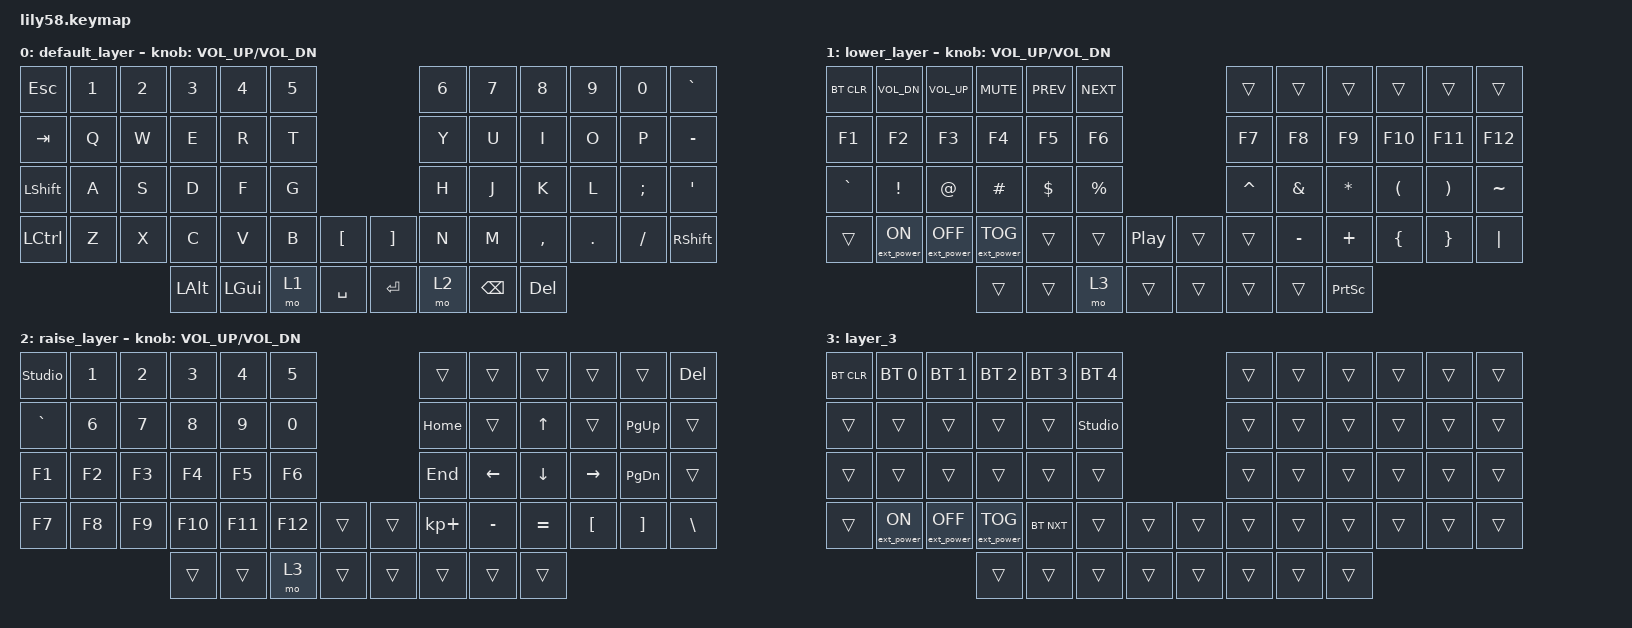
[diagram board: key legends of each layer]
/*
 * Copyright (c) 2020 The ZMK Contributors
 *
 * SPDX-License-Identifier: MIT
 */

#include <behaviors.dtsi>
#include <dt-bindings/zmk/bt.h>
#include <dt-bindings/zmk/ext_power.h>
#include <dt-bindings/zmk/keys.h>

/ {
    keymap {
        compatible = "zmk,keymap";

        default_layer {
            // ------------------------------------------------------------------------------------------------------------
            // |  ESC  |  1  |  2  |  3   |  4   |  5   |                   |  6   |  7    |  8    |  9   |   0   |   `   |
            // |  TAB  |  Q  |  W  |  E   |  R   |  T   |                   |  Y   |  U    |  I    |  O   |   P   |   -   |
            // |  CTRL |  A  |  S  |  D   |  F   |  G   |                   |  H   |  J    |  K    |  L   |   ;   |   '   |
            // | SHIFT |  Z  |  X  |  C   |  V   |  B   |   "["  |  |  "]"  |  N   |  M    |  ,    |  .   |   /   | SHIFT |
            //                     | ALT  | GUI  | LOWER|  SPACE |  | ENTER | RAISE| BSPC  | DEL   |

            bindings = <
&kp ESC    &kp N1  &kp N2  &kp N3    &kp N4    &kp N5                         &kp N6  &kp N7    &kp N8     &kp N9   &kp N0    &kp GRAVE
&kp TAB    &kp Q   &kp W   &kp E     &kp R     &kp T                          &kp Y   &kp U     &kp I      &kp O    &kp P     &kp MINUS
&kp LSHFT  &kp A   &kp S   &kp D     &kp F     &kp G                          &kp H   &kp J     &kp K      &kp L    &kp SEMI  &kp SQT
&kp LCTRL  &kp Z   &kp X   &kp C     &kp V     &kp B   &kp LBKT     &kp RBKT  &kp N   &kp M     &kp COMMA  &kp DOT  &kp FSLH  &kp RSHFT
                           &kp LALT  &kp LGUI  &mo 1   &kp SPACE    &kp RET   &mo 2   &kp BSPC  &kp DEL
            >;

            sensor-bindings = <&inc_dec_kp C_VOL_UP C_VOL_DN>;
        };

        lower_layer {
            // ------------------------------------------------------------------------------------------------------------
            // | BTCLR |  v- |  v+ | MUTE | PREV | NEXT |                   |      |       |       |      |       |       |
            // |  F1   |  F2 |  F3 |  F4  |  F5  |  F6  |                   |  F7  |  F8   |  F9   |  F10 |  F11  |  F12  |
            // |   `   |  !  |  @  |  #   |  $   |  %   |                   |  ^   |  &    |  *    |  (   |   )   |   ~   |
            // |       |     |     |      |      |      |  PLAY  |  |       |      |  _    |  +    |  {   |   }   |  "|"  |
            //                     |      |      |      |        |  |       |      |       |  PSCR |

            bindings = <
&bt BT_CLR  &kp C_VOL_DN      &kp C_VOL_UP       &kp C_MUTE         &kp C_PREV  &kp C_NEXT                      &trans     &trans     &trans     &trans    &trans    &trans
&kp F1      &kp F2            &kp F3             &kp F4             &kp F5      &kp F6                          &kp F7     &kp F8     &kp F9     &kp F10   &kp F11   &kp F12
&kp GRAVE   &kp EXCL          &kp AT             &kp HASH           &kp DOLLAR  &kp PRCNT                       &kp CARET  &kp AMPS   &kp ASTRK  &kp LPAR  &kp RPAR  &kp TILDE
&trans      &ext_power EP_ON  &ext_power EP_OFF  &ext_power EP_TOG  &trans      &trans      &kp C_PP    &trans  &trans     &kp MINUS  &kp PLUS   &kp LBRC  &kp RBRC  &kp PIPE
                                                 &trans             &trans      &mo 3       &trans      &trans  &trans     &trans     &kp PSCRN
            >;

            sensor-bindings = <&inc_dec_kp C_VOL_UP C_VOL_DN>;
        };

        raise_layer {
            // ------------------------------------------------------------------------------------------------------------
            // |       |  1  |  2  |  3   |  4   |  5   |                   |      |       |       |      |       |  DEL  |
            // |   `   |  6  |  7  |  8   |  9   |  0   |                   | HOME |       |   ^   |      | PG_UP |       |
            // |   F1  |  F2 |  F3 |  F4  |  F5  |  F6  |                   | END  |   <-  |   v   |  ->  | PG_DN |       |
            // |   F7  |  F8 |  F9 |  F10 |  F11 |  F12 |        |  |       |  +   |   -   |   =   |  [   |   ]   |   \   |
            //                     |      |      |      |        |  |       |      |       |       |

            bindings = <
&studio_unlock  &kp N1  &kp N2  &kp N3   &kp N4   &kp N5                     &trans       &trans     &trans     &trans     &trans     &kp DEL
&kp GRAVE       &kp N6  &kp N7  &kp N8   &kp N9   &kp N0                     &kp HOME     &trans     &kp UP     &trans     &kp PG_UP  &trans
&kp F1          &kp F2  &kp F3  &kp F4   &kp F5   &kp F6                     &kp END      &kp LEFT   &kp DOWN   &kp RIGHT  &kp PG_DN  &trans
&kp F7          &kp F8  &kp F9  &kp F10  &kp F11  &kp F12  &trans    &trans  &kp KP_PLUS  &kp MINUS  &kp EQUAL  &kp LBKT   &kp RBKT   &kp BSLH
                                &trans   &trans   &mo 3   &trans    &trans  &trans        &trans     &trans
            >;

            sensor-bindings = <&inc_dec_kp C_VOL_UP C_VOL_DN>;
        };

        layer_3 {
            bindings = <
&bt BT_CLR  &bt BT_SEL 0      &bt BT_SEL 1       &bt BT_SEL 2       &bt BT_SEL 3  &bt BT_SEL 4                      &trans  &trans  &trans  &trans  &trans  &trans
&trans      &trans            &trans             &trans             &trans        &studio_unlock                    &trans  &trans  &trans  &trans  &trans  &trans
&trans      &trans            &trans             &trans             &trans        &trans                            &trans  &trans  &trans  &trans  &trans  &trans
&trans      &ext_power EP_ON  &ext_power EP_OFF  &ext_power EP_TOG  &bt BT_NXT    &trans          &trans    &trans  &trans  &trans  &trans  &trans  &trans  &trans
                                                 &trans             &trans        &trans          &trans    &trans  &trans  &trans  &trans
            >;
        };
    };
};
